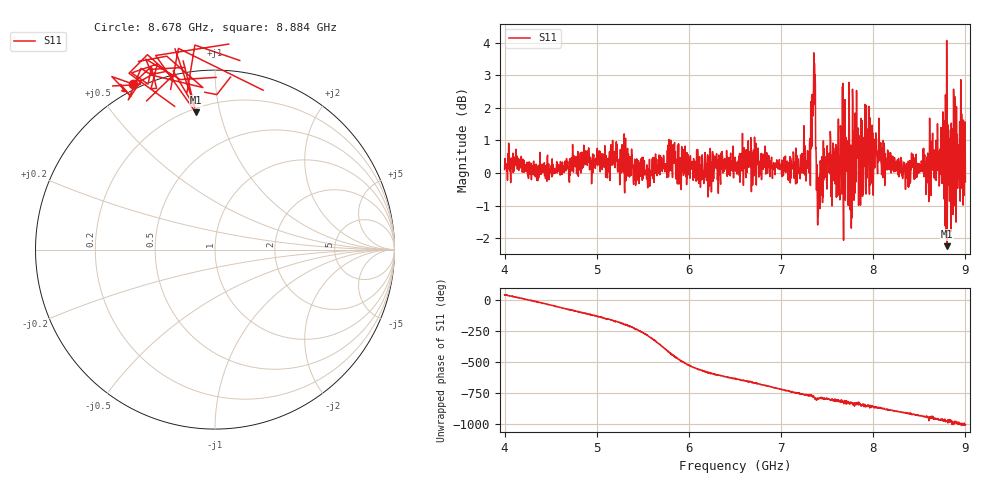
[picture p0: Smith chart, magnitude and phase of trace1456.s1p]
! Created with skrf 1.8.0 (http://scikit-rf.org).
# Hz S RI R 50.0
!freq ReS11 ImS11
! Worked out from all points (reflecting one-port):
!   1601 points, 4 GHz to 9 GHz, reference 50 ohm
!   lowest |S11| = -2.2 dB at 8.803 GHz (marker M1), VSWR 7.78, Z = 11.1 + j42.2 ohm
!   phase of S11 starts at 45 deg and turns -1053 deg over the sweep
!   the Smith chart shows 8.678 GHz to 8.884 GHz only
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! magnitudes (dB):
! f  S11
! 4 GHz  0.1
! 4.625 GHz  0.0
! 5.194 GHz  0.6
! 5.25 GHz  -0.4
! 5.875 GHz  -0.3
! 6.5 GHz  0.3
! 7.125 GHz  0.1
! 7.294 GHz  0.4
! 7.325 GHz  1.3
! 7.347 GHz  2.0
! 7.366 GHz  2.8
! 7.397 GHz  -1.6
! 7.409 GHz  -0.3
! 7.512 GHz  0.6
! 7.616 GHz  -0.7
! 7.669 GHz  0.7
! 7.75 GHz  -1.1
! 7.775 GHz  2.6
! 7.822 GHz  0.5
! 7.875 GHz  0.0
! 7.928 GHz  0.7
! 7.981 GHz  -0.3
! 8.375 GHz  -0.1
! 8.803 GHz  -2.2
! 8.822 GHz  1.1
! 8.844 GHz  -1.8
! 8.972 GHz  0.9
! 9 GHz  -0.3
